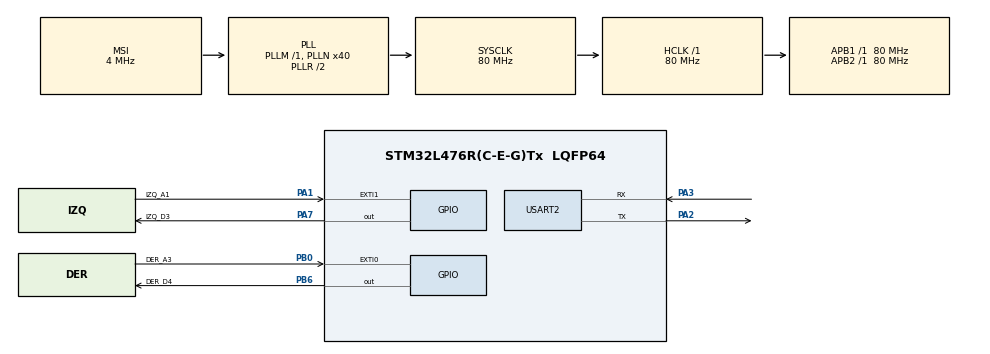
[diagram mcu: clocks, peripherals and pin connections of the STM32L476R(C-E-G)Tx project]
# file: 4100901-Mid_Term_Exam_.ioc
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Mcu.Family=STM32L4
Mcu.Name=STM32L476R(C-E-G)Tx
Mcu.Package=LQFP64
NVIC.EXTI0_IRQn=true\:0\:0\:false\:false\:true\:true\:true\:true
NVIC.EXTI1_IRQn=true\:0\:0\:false\:false\:true\:true\:true\:true
NVIC.PriorityGroup=NVIC_PRIORITYGROUP_4
PA1.GPIO_Label=IZQ_A1
PA1.GPIO_ModeDefaultEXTI=GPIO_MODE_IT_FALLING
PA1.Signal=GPXTI1
PA2.Mode=Asynchronous
PA2.Signal=USART2_TX
PA3.Mode=Asynchronous
PA3.Signal=USART2_RX
PA7.GPIO_Label=IZQ_D3
PA7.Signal=GPIO_Output
PB0.GPIO_Label=DER_A3
PB0.GPIO_ModeDefaultEXTI=GPIO_MODE_IT_FALLING
PB0.Signal=GPXTI0
PB6.GPIO_Label=DER_D4
PB6.Signal=GPIO_Output
ProjectManager.HeapSize=0x200
ProjectManager.StackSize=0x400
ProjectManager.TargetToolchain=STM32CubeIDE
RCC.AHBFreq_Value=80000000
RCC.APB1Freq_Value=80000000
RCC.APB1TimFreq_Value=80000000
RCC.APB2Freq_Value=80000000
RCC.APB2TimFreq_Value=80000000
RCC.CortexFreq_Value=80000000
RCC.HCLKFreq_Value=80000000
RCC.HSE_VALUE=8000000
RCC.HSI_VALUE=16000000
RCC.LSE_VALUE=32768
RCC.MSI_VALUE=4000000
RCC.PLLN=40
RCC.SYSCLKFreq_VALUE=80000000
RCC.SYSCLKSource=RCC_SYSCLKSOURCE_PLLCLK
RCC.VCOOutputFreq_Value=160000000
USART2.VirtualMode-Asynchronous=VM_ASYNC
board=custom

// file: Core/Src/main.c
/* USER CODE BEGIN Header */
/**
  ******************************************************************************
  * @file           : main.c
  * @brief          : Main program body
  ******************************************************************************
  * @attention
  *
  * Copyright (c) 2024 STMicroelectronics.
  * All rights reserved.
  *
  * This software is licensed under terms that can be found in the LICENSE file
  * in the root directory of this software component.
  * If no LICENSE file comes with this software, it is provided AS-IS.
  *
  ******************************************************************************
  */
/* USER CODE END Header */
#include "main.h"

/* USER CODE BEGIN Includes */
uint32_t left_toggles = 0;
uint32_t righ_toggles = 0;
uint32_t left_last_press = 0;
uint32_t righ_last_press = 0;
UART_HandleTypeDef huart2;
/* USER CODE END Includes */

/* USER CODE BEGIN PTD */
void HAL_GPIO_EXTI_Callback(uint16_t GPIO_Pin)
{
	if (GPIO_Pin == IZQ_A1_Pin) {
		//s1: letf directional
		HAL_UART_Transmit(&huart2,  "izq\r\n", 5, 10);//MENSAJE POR SISTEMA
		if (HAL_GetTick() < (left_last_press + 500) && (HAL_GetTick() > (righ_last_press + 100)) ) {
			//Si un botón de giro se presiona 2
			//o mas veces durante 500ms: la luz del lado correspondiente parpadea indefinidamente.

			left_toggles = 0xFFFFFF;

		} else {
			left_toggles = 6;//se activa el conactdor de cambios del lado izquierdo
			righ_toggles = 0;//se desactiva el contador de cambios del lado derecho

		}
		left_last_press = HAL_GetTick();
	}

	if (GPIO_Pin == DER_A3_Pin) {
		//s3: righ directional
		HAL_UART_Transmit(&huart2,  "der\r\n", 5, 10);
		if((HAL_GetTick() < (righ_last_press + 500)) && (HAL_GetTick() > (righ_last_press + 100)) )  {

				righ_toggles = 0xFFFFFF;

		}
		else{
			righ_toggles = 6;
			left_toggles = 0;
		}
		righ_last_press = HAL_GetTick();

	}

}
/* USER CODE END PTD */

/* USER CODE BEGIN PD */
//funcion giro izquierdo
void dir_izq(void)
{
	static uint32_t turn_toggle_tick = 0;
	if (turn_toggle_tick < HAL_GetTick()) {
		if (left_toggles > 0) {
			turn_toggle_tick = HAL_GetTick() + 500;
			HAL_GPIO_TogglePin(IZQ_D3_GPIO_Port, IZQ_D3_Pin);
			left_toggles--;
		}else {
			HAL_GPIO_WritePin(IZQ_D3_GPIO_Port, IZQ_D3_Pin, 1);
			//obligamos a mantenerse apagado si no usa
						//izquierdo
		}

	}
}
//funcion giro derecho
void dir_der(void)
{
	static uint32_t turn_toggle_tick2 = 0;//variable estatica para que el programa guarde valor
	//despues de abandonar la funcion y retomarla la proxima vez que la necesite
	if (turn_toggle_tick2 < HAL_GetTick()) {
		//condicion para temporizar el tiempo de cada toggle
		if (righ_toggles > 0) {
			turn_toggle_tick2 = HAL_GetTick() + 500;//2hz, es decir toglear cada 500 ms
			HAL_GPIO_TogglePin(DER_D4_GPIO_Port, DER_D4_Pin);
			righ_toggles--;//disminuye el contador de toggle, esta variable tiene 3 siclos en on y 3 en OFF
		}else {
			HAL_GPIO_WritePin(DER_D4_GPIO_Port, DER_D4_Pin, 1);//obligamos a mantenerse apagado si no usa
			//derecho
		}

	}
}
/* USER CODE END PD */

UART_HandleTypeDef huart2;

void SystemClock_Config(void);
static void MX_GPIO_Init(void);
static void MX_USART2_UART_Init(void);

int main(void)
{

  /* MCU Configuration--------------------------------------------------------*/

  /* Reset of all peripherals, Initializes the Flash interface and the Systick. */
  HAL_Init();

  /* Configure the system clock */
  SystemClock_Config();

  /* Initialize all configured peripherals */
  MX_GPIO_Init();
  MX_USART2_UART_Init();

  /* Infinite loop */
  /* USER CODE BEGIN WHILE */
  while (1)
  {
	  dir_izq();//se llaman las funciones correspondiente al giro, izquiero y derecho
	  dir_der();
    /* USER CODE END WHILE */

  }
}

void SystemClock_Config(void)
{
  RCC_OscInitTypeDef RCC_OscInitStruct = {0};
  RCC_ClkInitTypeDef RCC_ClkInitStruct = {0};

  /** Configure the main internal regulator output voltage
  */
  if (HAL_PWREx_ControlVoltageScaling(PWR_REGULATOR_VOLTAGE_SCALE1) != HAL_OK)
  {
    Error_Handler();
  }

  /** Initializes the RCC Oscillators according to the specified parameters
  * in the RCC_OscInitTypeDef structure.
  */
  RCC_OscInitStruct.OscillatorType = RCC_OSCILLATORTYPE_MSI;
  RCC_OscInitStruct.MSIState = RCC_MSI_ON;
  RCC_OscInitStruct.MSICalibrationValue = 0;
  RCC_OscInitStruct.MSIClockRange = RCC_MSIRANGE_6;
  RCC_OscInitStruct.PLL.PLLState = RCC_PLL_ON;
  RCC_OscInitStruct.PLL.PLLSource = RCC_PLLSOURCE_MSI;
  RCC_OscInitStruct.PLL.PLLM = 1;
  RCC_OscInitStruct.PLL.PLLN = 40;
  RCC_OscInitStruct.PLL.PLLP = RCC_PLLP_DIV7;
  RCC_OscInitStruct.PLL.PLLQ = RCC_PLLQ_DIV2;
  RCC_OscInitStruct.PLL.PLLR = RCC_PLLR_DIV2;
  if (HAL_RCC_OscConfig(&RCC_OscInitStruct) != HAL_OK)
  {
    Error_Handler();
  }

  /** Initializes the CPU, AHB and APB buses clocks
  */
  RCC_ClkInitStruct.ClockType = RCC_CLOCKTYPE_HCLK|RCC_CLOCKTYPE_SYSCLK
                              |RCC_CLOCKTYPE_PCLK1|RCC_CLOCKTYPE_PCLK2;
  RCC_ClkInitStruct.SYSCLKSource = RCC_SYSCLKSOURCE_PLLCLK;
  RCC_ClkInitStruct.AHBCLKDivider = RCC_SYSCLK_DIV1;
  RCC_ClkInitStruct.APB1CLKDivider = RCC_HCLK_DIV1;
  RCC_ClkInitStruct.APB2CLKDivider = RCC_HCLK_DIV1;

  if (HAL_RCC_ClockConfig(&RCC_ClkInitStruct, FLASH_LATENCY_4) != HAL_OK)
  {
    Error_Handler();
  }
}

static void MX_USART2_UART_Init(void)
{

  huart2.Instance = USART2;
  huart2.Init.BaudRate = 115200;
  huart2.Init.WordLength = UART_WORDLENGTH_8B;
  huart2.Init.StopBits = UART_STOPBITS_1;
  huart2.Init.Parity = UART_PARITY_NONE;
  huart2.Init.Mode = UART_MODE_TX_RX;
  huart2.Init.HwFlowCtl = UART_HWCONTROL_NONE;
  huart2.Init.OverSampling = UART_OVERSAMPLING_16;
  huart2.Init.OneBitSampling = UART_ONE_BIT_SAMPLE_DISABLE;
  huart2.AdvancedInit.AdvFeatureInit = UART_ADVFEATURE_NO_INIT;
  if (HAL_UART_Init(&huart2) != HAL_OK)
  {
    Error_Handler();
  }

}

static void MX_GPIO_Init(void)
{
  GPIO_InitTypeDef GPIO_InitStruct = {0};

  /* GPIO Ports Clock Enable */
  __HAL_RCC_GPIOA_CLK_ENABLE();
  __HAL_RCC_GPIOB_CLK_ENABLE();

  /*Configure GPIO pin Output Level */
  HAL_GPIO_WritePin(IZQ_D3_GPIO_Port, IZQ_D3_Pin, GPIO_PIN_RESET);

  /*Configure GPIO pin Output Level */
  HAL_GPIO_WritePin(DER_D4_GPIO_Port, DER_D4_Pin, GPIO_PIN_RESET);

  /*Configure GPIO pin : IZQ_A1_Pin */
  GPIO_InitStruct.Pin = IZQ_A1_Pin;
  GPIO_InitStruct.Mode = GPIO_MODE_IT_FALLING;
  GPIO_InitStruct.Pull = GPIO_NOPULL;
  HAL_GPIO_Init(IZQ_A1_GPIO_Port, &GPIO_InitStruct);

  /*Configure GPIO pin : IZQ_D3_Pin */
  GPIO_InitStruct.Pin = IZQ_D3_Pin;
  GPIO_InitStruct.Mode = GPIO_MODE_OUTPUT_PP;
  GPIO_InitStruct.Pull = GPIO_NOPULL;
  GPIO_InitStruct.Speed = GPIO_SPEED_FREQ_LOW;
  HAL_GPIO_Init(IZQ_D3_GPIO_Port, &GPIO_InitStruct);

  /*Configure GPIO pin : DER_A3_Pin */
  GPIO_InitStruct.Pin = DER_A3_Pin;
  GPIO_InitStruct.Mode = GPIO_MODE_IT_FALLING;
  GPIO_InitStruct.Pull = GPIO_NOPULL;
  HAL_GPIO_Init(DER_A3_GPIO_Port, &GPIO_InitStruct);

  /*Configure GPIO pin : DER_D4_Pin */
  GPIO_InitStruct.Pin = DER_D4_Pin;
  GPIO_InitStruct.Mode = GPIO_MODE_OUTPUT_PP;
  GPIO_InitStruct.Pull = GPIO_NOPULL;
  GPIO_InitStruct.Speed = GPIO_SPEED_FREQ_LOW;
  HAL_GPIO_Init(DER_D4_GPIO_Port, &GPIO_InitStruct);

  /* EXTI interrupt init*/
  HAL_NVIC_SetPriority(EXTI0_IRQn, 0, 0);
  HAL_NVIC_EnableIRQ(EXTI0_IRQn);

  HAL_NVIC_SetPriority(EXTI1_IRQn, 0, 0);
  HAL_NVIC_EnableIRQ(EXTI1_IRQn);

}

void Error_Handler(void)
{
  __disable_irq();
  while (1)
  {
  }
}
